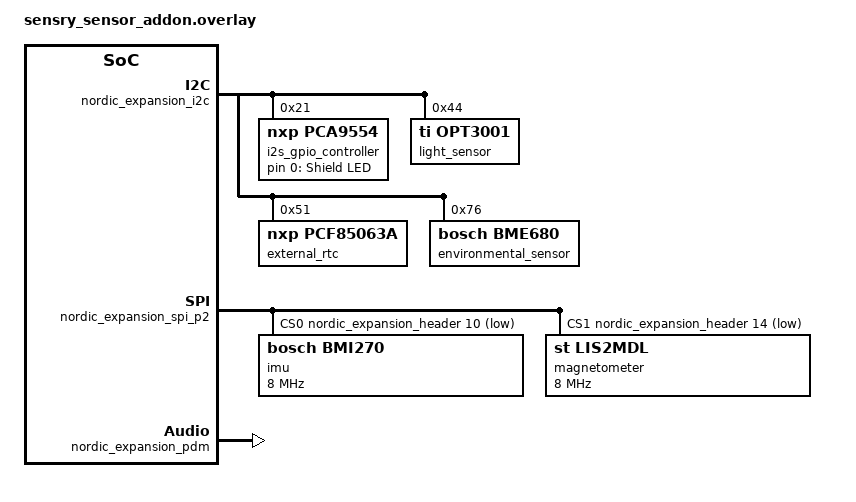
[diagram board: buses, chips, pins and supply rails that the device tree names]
/*
 * Copyright (c) 2026 Sensry GmbH
 * SPDX-License-Identifier: Apache-2.0
 */

/ {
	sensry-leds {
		compatible = "gpio-leds";

		shield_led: shield-led {
			gpios = <&i2s_gpio_controller 0 GPIO_ACTIVE_HIGH>;
			label = "Shield LED";
		};
	};
};

&nordic_expansion_i2c {
	i2s_gpio_controller: gpio@21 {
		compatible = "nxp,pca9554";
		reg = <0x21>;
		no-auto-reset;
		gpio-controller;
		#gpio-cells = <2>;
		ngpios = <8>;
	};

	light_sensor: opt3002@44 {
		compatible = "ti,opt3001";
		reg = <0x44>;
		label = "light_sensor";
	};

	external_rtc: rtc@51 {
		compatible = "nxp,pcf85063a";
		reg = <0x51>;
	};

	environmental_sensor: bme680@76 {
		compatible = "bosch,bme680";
		reg = <0x76>;
		label = "environmental_sensor";
	};
};

sensry_spi: &nordic_expansion_spi_p2 {
	cs-gpios = <&nordic_expansion_header 10 (GPIO_ACTIVE_LOW | GPIO_PULL_UP)>,
		   <&nordic_expansion_header 14 (GPIO_ACTIVE_LOW | GPIO_PULL_UP)>;

	imu: imu@0 {
		compatible = "bosch,bmi270";
		reg = <0>;
		spi-max-frequency = <8000000>;
		label = "imu";
		spi-cpol;
		spi-cpha;
	};

	magnetometer: lis2mdl@1 {
		compatible = "st,lis2mdl";
		reg = <1>;
		spi-max-frequency = <8000000>;
		label = "magnetometer";
	};
};

microphone: &nordic_expansion_pdm {
	status = "okay";
};
